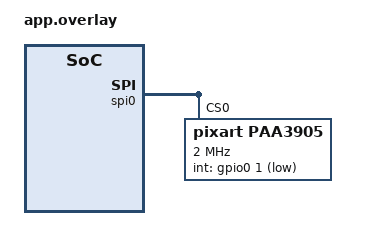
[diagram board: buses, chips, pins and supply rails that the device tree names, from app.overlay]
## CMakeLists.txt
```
# Copyright The Zephyr Project Contributors
# SPDX-License-Identifier: Apache-2.0

cmake_minimum_required(VERSION 3.28.0)
find_package(Zephyr REQUIRED HINTS $ENV{ZEPHYR_BASE})
project(paa3905)

target_include_directories(app PRIVATE ${ZEPHYR_BASE}/drivers/sensor/pixart/paa3905)
target_sources(app PRIVATE src/main.c)
```

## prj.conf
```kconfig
# Copyright The Zephyr Project Contributors
# SPDX-License-Identifier: Apache-2.0

CONFIG_ZTEST=y
CONFIG_SENSOR=y
CONFIG_EMUL=y
CONFIG_GPIO=y
# No emulator backs the device, only its decoder is tested
CONFIG_SENSOR_LOG_LEVEL_OFF=y
```

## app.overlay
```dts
/*
 * Copyright The Zephyr Project Contributors
 *
 * SPDX-License-Identifier: Apache-2.0
 */

#include <zephyr/dt-bindings/gpio/gpio.h>

&spi0 {
	paa3905: paa3905@0 {
		compatible = "pixart,paa3905";
		reg = <0>;
		spi-max-frequency = <2000000>;
		int-gpios = <&gpio0 1 GPIO_ACTIVE_LOW>;
	};
};
```

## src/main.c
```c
/*
 * Copyright The Zephyr Project Contributors
 *
 * SPDX-License-Identifier: Apache-2.0
 */

#include <zephyr/drivers/sensor.h>
#include <zephyr/sys/byteorder.h>
#include <zephyr/ztest.h>

#include "paa3905.h"
#include "paa3905_decoder.h"
#include "paa3905_reg.h"

#define TIMESTAMP_NS 123456789012ULL

/* Valid bright mode frame: motion, chip OK, squal and shutter within bounds */
#define VALID_OBSERVATION ((OBSERVATION_MODE_BRIGHT << 6) | 0x3F)
#define VALID_SQUAL       0x80
#define VALID_SHUTTER     0x001000

static const struct sensor_decoder_api *decoder = SENSOR_DECODER_DT_GET(DT_NODELABEL(paa3905));

static const struct sensor_chan_spec chan_dx = {SENSOR_CHAN_POS_DX, 0};
static const struct sensor_chan_spec chan_dy = {SENSOR_CHAN_POS_DY, 0};
static const struct sensor_chan_spec chan_dxyz = {SENSOR_CHAN_POS_DXYZ, 0};

static const uint8_t all_channels = BIT(0) | BIT(1) | BIT(2);

static struct paa3905_encoded_data edata;
static const uint8_t *const buffer = (const uint8_t *)&edata;

static void fill(uint8_t channels, int16_t dx, int16_t dy)
{
	memset(&edata, 0, sizeof(edata));
	edata.header.timestamp = TIMESTAMP_NS;
	edata.header.channels = channels;
	edata.buf[BURST_MOTION] = BIT(7);
	edata.buf[BURST_OBSERVATION] = VALID_OBSERVATION;
	edata.buf[BURST_SQUAL] = VALID_SQUAL;
	sys_put_be24(VALID_SHUTTER, &edata.buf[BURST_SHUTTER]);
	sys_put_le16((uint16_t)dx, &edata.buf[BURST_DELTA_X]);
	sys_put_le16((uint16_t)dy, &edata.buf[BURST_DELTA_Y]);
}

/* Convert a q31 value back to delta counts */
static void check_counts(q31_t value, int8_t shift, int16_t expected)
{
	int64_t counts = ((int64_t)value * (INT64_C(1) << shift)) >> 31;

	zassert_within(counts, expected, 0, "got %lld, expected %d", counts, expected);
}

static void check_unsupported(struct sensor_chan_spec chan)
{
	struct sensor_three_axis_data out;
	size_t base_size;
	size_t frame_size;
	uint16_t frame_count;
	uint32_t fit = 0;

	zassert_equal(decoder->get_size_info(chan, &base_size, &frame_size), -ENOTSUP);
	zassert_equal(decoder->get_frame_count(buffer, chan, &frame_count), -ENOTSUP);
	zassert_equal(decoder->decode(buffer, chan, &fit, 1, &out), -ENOTSUP);
}

static void check_no_data(struct sensor_chan_spec chan)
{
	struct sensor_three_axis_data out;
	uint16_t frame_count;
	uint32_t fit = 0;

	zassert_equal(decoder->get_frame_count(buffer, chan, &frame_count), -ENODATA);
	zassert_equal(decoder->decode(buffer, chan, &fit, 1, &out), -ENODATA);
}

static void check_q31(struct sensor_chan_spec chan, uint16_t max_count, int16_t expected)
{
	struct sensor_q31_data out;
	uint16_t frame_count;
	uint32_t fit = 0;

	zassert_ok(decoder->get_frame_count(buffer, chan, &frame_count));
	zassert_equal(frame_count, 1);

	memset(&out, 0xAA, sizeof(out));
	zassert_equal(decoder->decode(buffer, chan, &fit, max_count, &out), 1);
	zassert_equal(out.header.reading_count, 1);
	zassert_equal(out.shift, 31);
	zassert_equal(out.header.base_timestamp_ns + out.readings[0].timestamp_delta,
		      edata.header.timestamp);
	check_counts(out.readings[0].value, out.shift, expected);

	zassert_equal(decoder->decode(buffer, chan, &fit, max_count, &out), 0);
}

static void check_xyz(uint16_t max_count, int16_t dx, int16_t dy)
{
	struct sensor_three_axis_data out;
	uint16_t frame_count;
	uint32_t fit = 0;

	zassert_ok(decoder->get_frame_count(buffer, chan_dxyz, &frame_count));
	zassert_equal(frame_count, 1);

	memset(&out, 0xAA, sizeof(out));
	zassert_equal(decoder->decode(buffer, chan_dxyz, &fit, max_count, &out), 1);
	zassert_equal(out.header.reading_count, 1);
	zassert_equal(out.shift, 31);
	zassert_equal(out.header.base_timestamp_ns + out.readings[0].timestamp_delta,
		      edata.header.timestamp);
	check_counts(out.readings[0].x, out.shift, dx);
	check_counts(out.readings[0].y, out.shift, dy);
	zassert_equal(out.readings[0].z, 0);

	zassert_equal(decoder->decode(buffer, chan_dxyz, &fit, max_count, &out), 0);
}

ZTEST(paa3905_decoder, test_size_info)
{
	size_t base_size;
	size_t frame_size;

	zassert_ok(decoder->get_size_info(chan_dx, &base_size, &frame_size));
	zassert_equal(base_size, sizeof(struct sensor_q31_data));
	zassert_equal(frame_size, sizeof(struct sensor_q31_sample_data));

	zassert_ok(decoder->get_size_info(chan_dy, &base_size, &frame_size));
	zassert_equal(base_size, sizeof(struct sensor_q31_data));
	zassert_equal(frame_size, sizeof(struct sensor_q31_sample_data));

	zassert_ok(decoder->get_size_info(chan_dxyz, &base_size, &frame_size));
	zassert_equal(base_size, sizeof(struct sensor_three_axis_data));
	zassert_equal(frame_size, sizeof(struct sensor_three_axis_sample_data));
}

ZTEST(paa3905_decoder, test_one_shot)
{
	fill(all_channels, 1234, -32768);

	check_xyz(1, 1234, -32768);
	check_xyz(8, 1234, -32768);
	check_q31(chan_dx, 1, 1234);
	check_q31(chan_dy, 1, -32768);

	fill(all_channels, 32767, -1);

	check_xyz(1, 32767, -1);
	check_q31(chan_dx, 4, 32767);
	check_q31(chan_dy, 4, -1);

	zassert_false(decoder->has_trigger(buffer, SENSOR_TRIG_DATA_READY));
	zassert_false(decoder->has_trigger(buffer, SENSOR_TRIG_MOTION));

	check_unsupported((struct sensor_chan_spec){SENSOR_CHAN_POS_DZ, 0});
	check_unsupported((struct sensor_chan_spec){SENSOR_CHAN_ACCEL_XYZ, 0});
	check_unsupported((struct sensor_chan_spec){SENSOR_CHAN_POS_DX, 1});
	check_unsupported((struct sensor_chan_spec){SENSOR_CHAN_POS_DXYZ, 1});
}

ZTEST(paa3905_decoder, test_encode)
{
	const struct sensor_chan_spec channels[] = {chan_dx, chan_dxyz};

	fill(0, -100, 200);
	zassert_ok(paa3905_encode(NULL, channels, ARRAY_SIZE(channels), (uint8_t *)&edata));
	zassert_equal(edata.header.channels, BIT(0) | BIT(2));

	check_q31(chan_dx, 1, -100);
	check_xyz(1, -100, 200);
	check_no_data(chan_dy);
}

ZTEST(paa3905_decoder, test_max_count_zero)
{
	struct sensor_three_axis_data out;
	uint32_t fit = 0;

	fill(all_channels, 1, 2);

	zassert_equal(decoder->decode(buffer, chan_dxyz, &fit, 0, &out), 0);
	zassert_equal(fit, 0);
	check_xyz(1, 1, 2);
}

ZTEST(paa3905_decoder, test_channel_not_encoded)
{
	fill(BIT(0), 10, 20);

	check_q31(chan_dx, 1, 10);
	check_no_data(chan_dy);
	check_no_data(chan_dxyz);

	fill(0, 10, 20);

	check_no_data(chan_dx);
	check_no_data(chan_dy);
	check_no_data(chan_dxyz);
}

struct validity_case {
	uint8_t motion;
	uint8_t mode;
	uint8_t squal;
	uint32_t shutter;
	bool valid;
};

static const struct validity_case validity_cases[] = {
	/* No motion */
	{0x00, OBSERVATION_MODE_BRIGHT, VALID_SQUAL, VALID_SHUTTER, false},
	/* Challenging conditions */
	{BIT(7) | BIT(0), OBSERVATION_MODE_BRIGHT, VALID_SQUAL, VALID_SHUTTER, false},
	/* Invalid observation mode */
	{BIT(7), 3, VALID_SQUAL, VALID_SHUTTER, false},
	/* Squal and shutter bounds of each mode */
	{BIT(7), OBSERVATION_MODE_BRIGHT, SQUAL_MIN_BRIGHT, SHUTTER_MAX_BRIGHT - 1, true},
	{BIT(7), OBSERVATION_MODE_BRIGHT, SQUAL_MIN_BRIGHT - 1, VALID_SHUTTER, false},
	{BIT(7), OBSERVATION_MODE_BRIGHT, VALID_SQUAL, SHUTTER_MAX_BRIGHT, false},
	{BIT(7), OBSERVATION_MODE_LOW_LIGHT, SQUAL_MIN_LOW_LIGHT, SHUTTER_MAX_LOW_LIGHT - 1, true},
	{BIT(7), OBSERVATION_MODE_LOW_LIGHT, SQUAL_MIN_LOW_LIGHT - 1, VALID_SHUTTER, false},
	{BIT(7), OBSERVATION_MODE_LOW_LIGHT, VALID_SQUAL, SHUTTER_MAX_LOW_LIGHT, false},
	{BIT(7), OBSERVATION_MODE_SUPER_LOW_LIGHT, SQUAL_MIN_SUPER_LOW_LIGHT,
	 SHUTTER_MAX_SUPER_LOW_LIGHT - 1, true},
	{BIT(7), OBSERVATION_MODE_SUPER_LOW_LIGHT, SQUAL_MIN_SUPER_LOW_LIGHT - 1, VALID_SHUTTER,
	 false},
	{BIT(7), OBSERVATION_MODE_SUPER_LOW_LIGHT, 0xFF, SHUTTER_MAX_SUPER_LOW_LIGHT, false},
	/* Shutter bytes are big-endian: 0x80FF00 is above every bound */
	{BIT(7), OBSERVATION_MODE_SUPER_LOW_LIGHT, 0xFF, 0x80FF00, false},
	{BIT(7), OBSERVATION_MODE_SUPER_LOW_LIGHT, 0xFF, 0x0000FF, true},
};

ZTEST(paa3905_decoder, test_validity)
{
	for (size_t i = 0; i < ARRAY_SIZE(validity_cases); i++) {
		const struct validity_case *c = &validity_cases[i];

		TC_PRINT("case %zu\n", i);
		fill(all_channels, -5, 7);
		edata.buf[BURST_MOTION] = c->motion;
		edata.buf[BURST_OBSERVATION] = (uint8_t)((c->mode << 6) | 0x3F);
		edata.buf[BURST_SQUAL] = c->squal;
		sys_put_be24(c->shutter, &edata.buf[BURST_SHUTTER]);

		if (c->valid) {
			check_q31(chan_dx, 1, -5);
			check_q31(chan_dy, 1, 7);
			check_xyz(1, -5, 7);
		} else {
			check_no_data(chan_dx);
			check_no_data(chan_dy);
			check_no_data(chan_dxyz);
		}

		check_unsupported((struct sensor_chan_spec){SENSOR_CHAN_POS_DZ, 0});
		check_unsupported((struct sensor_chan_spec){SENSOR_CHAN_POS_DX, 1});
	}
}

ZTEST(paa3905_decoder, test_stream)
{
	/* Stream buffers only carry SENSOR_CHAN_POS_DXYZ */
	fill(paa3905_encode_channel(SENSOR_CHAN_POS_DXYZ), -300, 400);
	edata.header.events.drdy = true;

	check_xyz(1, -300, 400);
	check_no_data(chan_dx);
	check_no_data(chan_dy);

	zassert_true(decoder->has_trigger(buffer, SENSOR_TRIG_DATA_READY));
	zassert_false(decoder->has_trigger(buffer, SENSOR_TRIG_MOTION));
	zassert_false(decoder->has_trigger(buffer, SENSOR_TRIG_FIFO_WATERMARK));

	edata.header.events.drdy = false;
	edata.header.events.motion = true;
	zassert_false(decoder->has_trigger(buffer, SENSOR_TRIG_DATA_READY));
	zassert_true(decoder->has_trigger(buffer, SENSOR_TRIG_MOTION));

	/* Trigger without data, for SENSOR_STREAM_DATA_NOP or _DROP */
	edata.header.channels = 0;
	check_no_data(chan_dxyz);
	zassert_true(decoder->has_trigger(buffer, SENSOR_TRIG_MOTION));
}

ZTEST_SUITE(paa3905_decoder, NULL, NULL, NULL, NULL, NULL);
```
